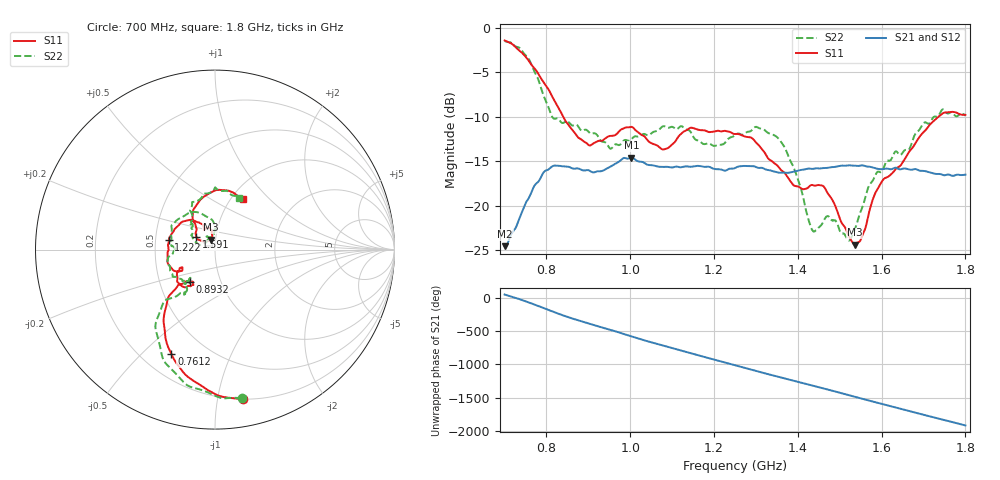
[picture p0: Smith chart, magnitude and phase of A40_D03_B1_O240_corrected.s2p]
! Created with skrf 1.9.0 (http://scikit-rf.org).
# Hz S RI R 50.0
!freq ReS11 ImS11 ReS21 ImS21 ReS12 ImS12 ReS22 ImS22
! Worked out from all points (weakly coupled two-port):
!   1601 points, 700 MHz to 1.8 GHz, reference 50 ohm
!   highest |S21| = -14.63 dB at 1.002 GHz (marker M1); lowest = -24.6 dB at 701.4 MHz (marker M2)
!   lowest |S11| = -24.4 dB at 1.535 GHz (marker M3), VSWR 1.13, Z = 47.3 + j5.21 ohm
!   |S11| at or under -10 dB: 839.5 MHz to 1.736 GHz (896.6 MHz wide, 69.6 % of centre)
!   |S22| runs from -24.0 to -1.5 dB; largest |S21 - S12| = 0.0035
!   S11 on the Smith chart (normalised r, x): 700 MHz: 0.20, -1.19; 761.2 MHz: 0.32, -0.62; 893.2 MHz: 0.71, -0.27; 1.222 GHz: 0.59, +0.07; 1.591 GHz: 0.81, +0.11; 1.8 GHz: 1.12, +0.71
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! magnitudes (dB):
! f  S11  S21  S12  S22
! 700 MHz  -1.4  -24.6  -24.3  -1.5
! 701.4 MHz  -1.5  -24.6  -24.2  -1.5
! 761.2 MHz  -4.0  -18.8  -18.7  -3.9
! 814.8 MHz  -7.9  -15.6  -15.6  -10.1
! 883.6 MHz  -12.6  -16.0  -15.9  -11.6
! 893.2 MHz  -12.9  -16.0  -16.1  -11.5
! 953 MHz  -12.2  -15.6  -15.6  -13.6
! 1.002 GHz  -11.2  -14.6  -14.7  -12.6
! 1.067 GHz  -13.3  -15.6  -15.6  -11.5
! 1.144 GHz  -11.3  -15.6  -15.6  -11.7
! 1.222 GHz  -11.6  -16.1  -16.1  -13.1
! 1.25 GHz  -12.0  -15.8  -15.7  -12.1
! 1.357 GHz  -15.8  -16.3  -16.3  -12.6
! 1.394 GHz  -17.8  -16.2  -16.1  -16.2
! 1.434 GHz  -17.7  -15.9  -15.8  -22.7
! 1.464 GHz  -18.0  -15.8  -15.8  -21.6
! 1.521 GHz  -23.4  -15.5  -15.5  -24.0
! 1.535 GHz  -24.4  -15.5  -15.5  -22.8
! 1.591 GHz  -18.1  -15.9  -15.9  -16.2
! 1.617 GHz  -16.7  -15.9  -15.9  -15.0
! 1.74 GHz  -9.8  -16.5  -16.5  -9.5
! 1.8 GHz  -9.8  -16.5  -16.5  -9.9
